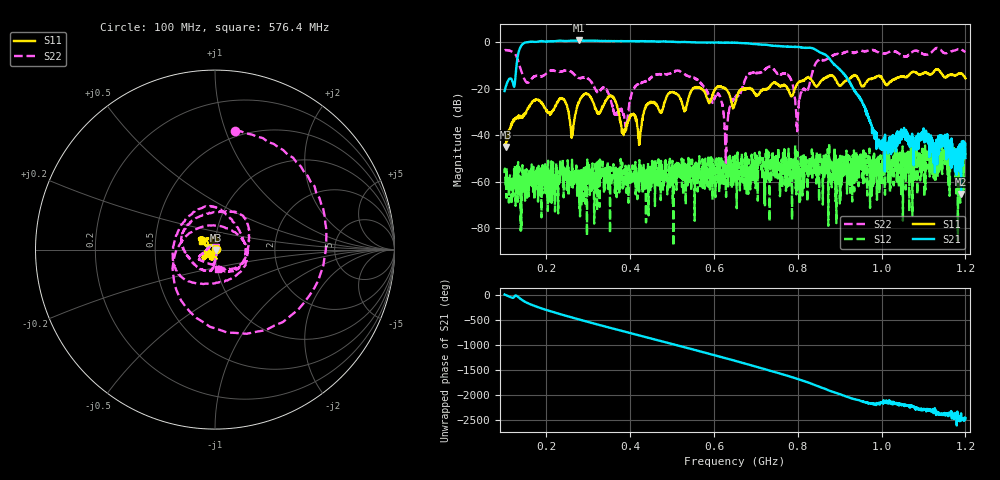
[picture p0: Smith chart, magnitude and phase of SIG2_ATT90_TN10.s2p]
# Hz S DB R 50
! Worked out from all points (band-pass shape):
!   1601 points, 100 MHz to 1.2 GHz, reference 50 ohm
!   highest |S21| = 0.71 dB at 276.7 MHz (marker M1); lowest = -65.3 dB at 1.19 GHz (marker M2)
!   |S21| within 3 dB of the highest: 137.4 MHz to 808.6 MHz (671.2 MHz wide, 142 % of centre)
!   lowest |S11| = -45.1 dB at 102.8 MHz (marker M3), VSWR 1.01, Z = 50.5 - j0.218 ohm
!   |S11| at or under -10 dB: start of sweep to end of sweep
!   |S22| runs from -52.1 to -2.4 dB; largest |S21 - S12| = 1.1
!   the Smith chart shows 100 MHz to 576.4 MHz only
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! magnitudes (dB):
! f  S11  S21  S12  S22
! 100 MHz  -44.4  -21.1  -56.4  -3.5
! 102.8 MHz  -45.1  -19.3  -62.0  -3.5
! 146.1 MHz  -31.5  -0.4  -64.0  -15.4
! 237.5 MHz  -24.4  0.5  -53.9  -12.6
! 260.9 MHz  -40.4  0.6  -50.6  -13.0
! 276.7 MHz  -26.2  0.7  -56.3  -15.4
! 283.6 MHz  -23.9  0.7  -70.3  -15.3
! 357.1 MHz  -23.5  0.4  -57.8  -27.8
! 388.8 MHz  -37.0  0.4  -53.2  -35.1
! 410.8 MHz  -31.7  0.4  -53.3  -19.2
! 421.8 MHz  -43.2  0.4  -50.8  -17.9
! 467.1 MHz  -28.7  0.2  -50.4  -13.8
! 610.8 MHz  -19.4  -0.3  -60.5  -22.7
! 628 MHz  -20.0  -0.3  -63.1  -52.1
! 650 MHz  -26.6  -0.3  -59.3  -23.9
! 734.6 MHz  -18.7  -1.4  -50.1  -10.7
! 780.6 MHz  -21.8  -2.0  -56.4  -15.1
! 799.2 MHz  -17.9  -2.0  -47.4  -35.4
! 833.6 MHz  -16.6  -2.5  -46.2  -13.7
! 1.017 GHz  -17.5  -43.5  -54.1  -4.3
! 1.19 GHz  -13.4  -65.3  -45.1  -3.1
! 1.2 GHz  -15.6  -49.9  -48.7  -4.3
